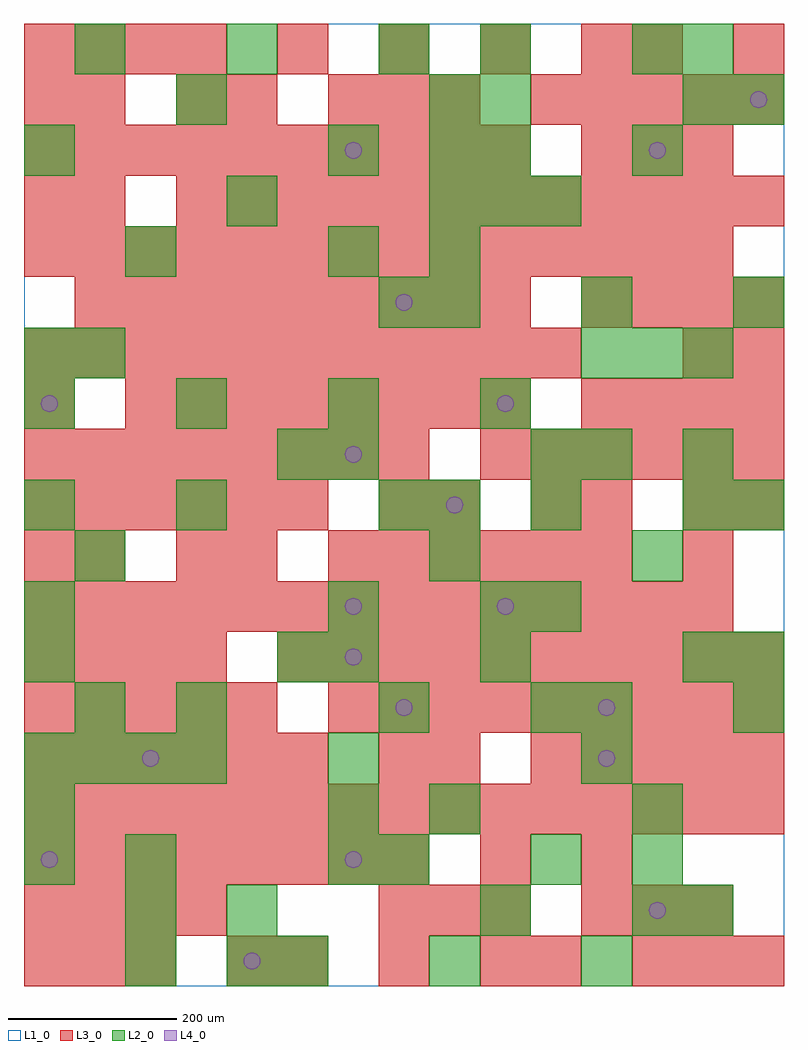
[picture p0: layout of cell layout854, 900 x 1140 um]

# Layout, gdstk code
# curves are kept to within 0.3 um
import gdstk
lib = gdstk.Library(unit=1e-6, precision=1e-09)
def R(c, l, rs):  # rectangles x0, y0, x1, y1
    for r in rs: c.add(gdstk.rectangle(r[:2], r[2:], *l))
def A(c, l, x, y, w, h, nx, ny, dx, dy):  # array of equal rectangles
    R(c, l, [(x+i*dx, y+j*dy, x+i*dx+w, y+j*dy+h) for i in range(nx) for j in range(ny)])
def P(c, l, *ps):  # polygons
    for p in ps: c.add(gdstk.Polygon(p, *l))
L1_0 = (1, 0)
L2_0 = (2, 0)
L3_0 = (3, 0)
L4_0 = (4, 0)

layout854 = lib.new_cell('layout854')
R(layout854, L1_0, [(0,0,900,1140)])
A(layout854, L2_0, 120, 0, 60, 60, 1, 3, 0, 60)
A(layout854, L2_0, 300, 0, 60, 60, 3, 1, 180, 0)
A(layout854, L2_0, 720, 60, 60, 60, 1, 3, 0, 60)
A(layout854, L2_0, 360, 120, 60, 60, 1, 3, 0, 60)
A(layout854, L2_0, 0, 240, 60, 60, 4, 1, 60, 0)
A(layout854, L2_0, 420, 300, 60, 60, 1, 3, 0, 240)
A(layout854, L2_0, 600, 300, 60, 60, 1, 3, 0, 120)
A(layout854, L2_0, 0, 660, 60, 60, 4, 1, 180, 0)
A(layout854, L2_0, 660, 720, 60, 60, 3, 1, 60, 0)
A(layout854, L2_0, 480, 780, 60, 60, 3, 1, 180, 0)
A(layout854, L2_0, 480, 900, 60, 60, 3, 1, 60, 0)
A(layout854, L2_0, 540, 960, 60, 60, 1, 3, 0, 60)
A(layout854, L2_0, 60, 1080, 60, 60, 3, 1, 180, 0)
R(layout854, L2_0, [(240,0,300,60), (240,60,300,120), (540,60,600,120), (780,60,840,120), (0,120,60,180), (420,120,480,180), (600,120,660,180), (0,180,60,240), (480,180,540,240), (660,240,720,300), (60,300,120,360), (180,300,240,360), (660,300,720,360), (840,300,900,360), (0,360,60,420), (300,360,360,420), (360,360,420,420), (540,360,600,420), (780,360,840,420), (840,360,900,420), (0,420,60,480), (360,420,420,480), (540,420,600,480), (60,480,120,540), (480,480,540,540), (720,480,780,540), (0,540,60,600), (180,540,240,600), (480,540,540,600), (780,540,840,600), (840,540,900,600), (300,600,360,660), (360,600,420,660), (600,600,660,660), (660,600,720,660), (780,600,840,660), (0,720,60,780), (60,720,120,780), (120,840,180,900), (360,840,420,900), (480,840,540,900), (240,900,300,960), (0,960,60,1020), (360,960,420,1020), (480,960,540,1020), (720,960,780,1020), (180,1020,240,1080), (480,1020,540,1080), (780,1020,840,1080), (840,1020,900,1080), (720,1080,780,1140), (780,1080,840,1140)])
A(layout854, L3_0, 0, 0, 60, 60, 3, 1, 60, 0)
A(layout854, L3_0, 300, 0, 60, 60, 3, 1, 120, 0)
A(layout854, L3_0, 720, 0, 60, 60, 3, 1, 60, 0)
A(layout854, L3_0, 0, 60, 60, 60, 4, 2, 60, 300)
A(layout854, L3_0, 420, 60, 60, 60, 3, 1, 60, 0)
A(layout854, L3_0, 660, 60, 60, 60, 3, 2, 60, 900)
A(layout854, L3_0, 0, 120, 60, 60, 8, 2, 60, 480)
A(layout854, L3_0, 0, 180, 60, 60, 15, 1, 60, 0)
A(layout854, L3_0, 0, 240, 60, 60, 6, 2, 60, 300)
A(layout854, L3_0, 600, 240, 60, 60, 5, 2, 60, 780)
A(layout854, L3_0, 0, 300, 60, 60, 5, 1, 60, 0)
A(layout854, L3_0, 360, 300, 60, 60, 9, 1, 60, 0)
A(layout854, L3_0, 300, 360, 60, 60, 10, 1, 60, 0)
A(layout854, L3_0, 0, 420, 60, 60, 14, 2, 60, 420)
A(layout854, L3_0, 360, 480, 60, 60, 6, 1, 60, 0)
A(layout854, L3_0, 540, 600, 60, 60, 6, 1, 60, 0)
A(layout854, L3_0, 120, 660, 60, 60, 8, 1, 60, 0)
A(layout854, L3_0, 660, 660, 60, 60, 4, 2, 60, 120)
A(layout854, L3_0, 0, 720, 60, 60, 11, 1, 60, 0)
A(layout854, L3_0, 60, 780, 60, 60, 9, 1, 60, 0)
A(layout854, L3_0, 180, 900, 60, 60, 12, 1, 60, 0)
A(layout854, L3_0, 0, 960, 60, 60, 10, 1, 60, 0)
A(layout854, L3_0, 360, 1020, 60, 60, 3, 1, 60, 0)
A(layout854, L3_0, 0, 1080, 60, 60, 4, 1, 60, 0)
A(layout854, L3_0, 300, 1080, 60, 60, 4, 1, 120, 0)
R(layout854, L3_0, [(240,0,300,60), (600,0,660,60), (540,120,600,180), (660,120,720,180), (420,240,480,300), (480,240,540,300), (0,480,60,540), (60,480,120,540), (180,480,240,540), (240,480,300,540), (780,480,840,540), (420,540,480,600), (480,540,540,600), (600,540,660,600), (660,540,720,600), (780,540,840,600), (840,540,900,600), (0,660,60,720), (780,720,840,780), (840,720,900,780), (0,900,60,960), (60,900,120,960), (0,1020,60,1080), (60,1020,120,1080), (180,1020,240,1080), (240,1020,300,1080), (720,1080,780,1140), (840,1080,900,1140)])
P(layout854, L4_0, [(40,150),(39.239,153.827),(37.071,157.071),(33.827,159.239),(30,160),(26.173,159.239),(22.929,157.071),(20.761,153.827),(20,150),(20.761,146.173),(22.929,142.929),(26.173,140.761),(30,140),(33.827,140.761),(37.071,142.929),(39.239,146.173)],
  [(40,690),(39.239,693.827),(37.071,697.071),(33.827,699.239),(30,700),(26.173,699.239),(22.929,697.071),(20.761,693.827),(20,690),(20.761,686.173),(22.929,682.929),(26.173,680.761),(30,680),(33.827,680.761),(37.071,682.929),(39.239,686.173)],
  [(160,270),(159.239,273.827),(157.071,277.071),(153.827,279.239),(150,280),(146.173,279.239),(142.929,277.071),(140.761,273.827),(140,270),(140.761,266.173),(142.929,262.929),(146.173,260.761),(150,260),(153.827,260.761),(157.071,262.929),(159.239,266.173)],
  [(280,30),(279.239,33.827),(277.071,37.071),(273.827,39.239),(270,40),(266.173,39.239),(262.929,37.071),(260.761,33.827),(260,30),(260.761,26.173),(262.929,22.929),(266.173,20.761),(270,20),(273.827,20.761),(277.071,22.929),(279.239,26.173)],
  [(400,150),(399.239,153.827),(397.071,157.071),(393.827,159.239),(390,160),(386.173,159.239),(382.929,157.071),(380.761,153.827),(380,150),(380.761,146.173),(382.929,142.929),(386.173,140.761),(390,140),(393.827,140.761),(397.071,142.929),(399.239,146.173)],
  [(400,390),(399.239,393.827),(397.071,397.071),(393.827,399.239),(390,400),(386.173,399.239),(382.929,397.071),(380.761,393.827),(380,390),(380.761,386.173),(382.929,382.929),(386.173,380.761),(390,380),(393.827,380.761),(397.071,382.929),(399.239,386.173)],
  [(400,450),(399.239,453.827),(397.071,457.071),(393.827,459.239),(390,460),(386.173,459.239),(382.929,457.071),(380.761,453.827),(380,450),(380.761,446.173),(382.929,442.929),(386.173,440.761),(390,440),(393.827,440.761),(397.071,442.929),(399.239,446.173)],
  [(400,630),(399.239,633.827),(397.071,637.071),(393.827,639.239),(390,640),(386.173,639.239),(382.929,637.071),(380.761,633.827),(380,630),(380.761,626.173),(382.929,622.929),(386.173,620.761),(390,620),(393.827,620.761),(397.071,622.929),(399.239,626.173)],
  [(400,990),(399.239,993.827),(397.071,997.071),(393.827,999.239),(390,1000),(386.173,999.239),(382.929,997.071),(380.761,993.827),(380,990),(380.761,986.173),(382.929,982.929),(386.173,980.761),(390,980),(393.827,980.761),(397.071,982.929),(399.239,986.173)],
  [(460,330),(459.239,333.827),(457.071,337.071),(453.827,339.239),(450,340),(446.173,339.239),(442.929,337.071),(440.761,333.827),(440,330),(440.761,326.173),(442.929,322.929),(446.173,320.761),(450,320),(453.827,320.761),(457.071,322.929),(459.239,326.173)],
  [(460,810),(459.239,813.827),(457.071,817.071),(453.827,819.239),(450,820),(446.173,819.239),(442.929,817.071),(440.761,813.827),(440,810),(440.761,806.173),(442.929,802.929),(446.173,800.761),(450,800),(453.827,800.761),(457.071,802.929),(459.239,806.173)],
  [(520,570),(519.239,573.827),(517.071,577.071),(513.827,579.239),(510,580),(506.173,579.239),(502.929,577.071),(500.761,573.827),(500,570),(500.761,566.173),(502.929,562.929),(506.173,560.761),(510,560),(513.827,560.761),(517.071,562.929),(519.239,566.173)],
  [(580,450),(579.239,453.827),(577.071,457.071),(573.827,459.239),(570,460),(566.173,459.239),(562.929,457.071),(560.761,453.827),(560,450),(560.761,446.173),(562.929,442.929),(566.173,440.761),(570,440),(573.827,440.761),(577.071,442.929),(579.239,446.173)],
  [(580,690),(579.239,693.827),(577.071,697.071),(573.827,699.239),(570,700),(566.173,699.239),(562.929,697.071),(560.761,693.827),(560,690),(560.761,686.173),(562.929,682.929),(566.173,680.761),(570,680),(573.827,680.761),(577.071,682.929),(579.239,686.173)],
  [(700,270),(699.239,273.827),(697.071,277.071),(693.827,279.239),(690,280),(686.173,279.239),(682.929,277.071),(680.761,273.827),(680,270),(680.761,266.173),(682.929,262.929),(686.173,260.761),(690,260),(693.827,260.761),(697.071,262.929),(699.239,266.173)],
  [(700,330),(699.239,333.827),(697.071,337.071),(693.827,339.239),(690,340),(686.173,339.239),(682.929,337.071),(680.761,333.827),(680,330),(680.761,326.173),(682.929,322.929),(686.173,320.761),(690,320),(693.827,320.761),(697.071,322.929),(699.239,326.173)],
  [(760,90),(759.239,93.827),(757.071,97.071),(753.827,99.239),(750,100),(746.173,99.239),(742.929,97.071),(740.761,93.827),(740,90),(740.761,86.173),(742.929,82.929),(746.173,80.761),(750,80),(753.827,80.761),(757.071,82.929),(759.239,86.173)],
  [(760,990),(759.239,993.827),(757.071,997.071),(753.827,999.239),(750,1000),(746.173,999.239),(742.929,997.071),(740.761,993.827),(740,990),(740.761,986.173),(742.929,982.929),(746.173,980.761),(750,980),(753.827,980.761),(757.071,982.929),(759.239,986.173)],
  [(880,1050),(879.239,1053.827),(877.071,1057.071),(873.827,1059.239),(870,1060),(866.173,1059.239),(862.929,1057.071),(860.761,1053.827),(860,1050),(860.761,1046.173),(862.929,1042.929),(866.173,1040.761),(870,1040),(873.827,1040.761),(877.071,1042.929),(879.239,1046.173)])

lib.write_gds('layout854.gds')
